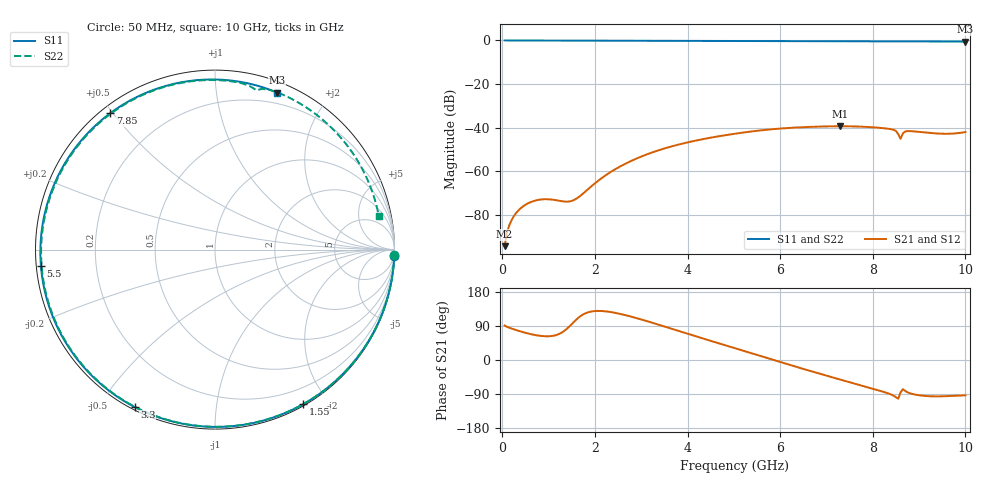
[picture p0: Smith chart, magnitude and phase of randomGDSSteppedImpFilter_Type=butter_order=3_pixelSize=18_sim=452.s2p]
! freq	dB(S11)	phase(S11)	dB(S12)	phase(S12)
!  dB(S21)	phase(S21)	dB(S22)	phase(S22)
!S-par simulation data
#  GHz  S  DB  R 50
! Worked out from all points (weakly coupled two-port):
!   200 points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, 50 MHz to 10 GHz, reference 50 ohm
!   highest |S21| = -39.31 dB at 7.3 GHz (marker M1); lowest = -94.2 dB at 50 MHz (marker M2)
!   lowest |S11| = -0.5 dB at 10 GHz (marker M3), VSWR 32.63, Z = 4.83 + j73.2 ohm
!   |S11| at or under -10 dB: nowhere
!   |S22| runs from -0.7 to 0.0 dB; largest |S21 - S12| = 0
!   S11 on the Smith chart (normalised r, x): 50 MHz: 1, -56; 1.55 GHz: 0.02, -1.72; 3.3 GHz: 0.01, -0.61; 5.5 GHz: 0.01, -0.05; 7.85 GHz: 0.03, +0.49; 10 GHz: 0.10, +1.46
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0.05  -0.00 -2.1  -94.24 90.9  -94.24 90.9  -0.00 -1.8
0.25  -0.01 -10.1  -80.48 80.9  -80.48 80.9  -0.01 -8.7
0.5  -0.02 -20.1  -75.27 71.8  -75.27 71.8  -0.02 -17.4
0.75  -0.03 -30.0  -73.16 65.0  -73.16 65.0  -0.03 -26.0
1.55  -0.07 -60.3  -73.07 101.0  -73.07 101.0  -0.07 -53.0
1.75  -0.08 -67.4  -70.02 120.5  -70.02 120.5  -0.07 -59.6
2.45  -0.11 -91.1  -58.86 124.1  -58.86 124.1  -0.10 -81.9
3.3  -0.13 -117.1  -50.84 96.0  -50.84 96.0  -0.14 -107.9
3.4  -0.14 -120.0  -50.15 92.2  -50.15 92.2  -0.14 -110.9
4.25  -0.17 -143.2  -45.56 59.9  -45.56 59.9  -0.18 -136.0
5.05  -0.20 -163.6  -42.64 30.2  -42.64 30.2  -0.23 -159.6
5.5  -0.23 -174.7  -41.39 13.5  -41.39 13.5  -0.26 -173.1
6.7  -0.30 156.1  -39.55 -30.7  -39.55 -30.7  -0.35 148.4
7.3  -0.33 141.3  -39.31 -51.8  -39.31 -51.8  -0.41 127.0
7.85  -0.37 127.5  -39.59 -71.0  -39.59 -71.0  -0.46 105.9
8.35  -0.40 114.6  -40.49 -88.8  -40.49 -88.8  -0.52 85.1
8.5  -0.41 110.6  -41.47 -98.2  -41.47 -98.2  -0.60 78.4
8.6  -0.42 108.0  -45.05 -85.5  -45.05 -85.5  -0.75 75.4
8.65  -0.42 106.7  -42.60 -77.0  -42.60 -77.0  -0.60 73.6
8.75  -0.43 104.0  -41.53 -85.2  -41.53 -85.2  -0.52 68.7
9.4  -0.48 86.0  -42.64 -96.0  -42.64 -96.0  -0.56 39.0
10  -0.53 68.5  -41.96 -93.2  -41.96 -93.2  -0.62 11.5
